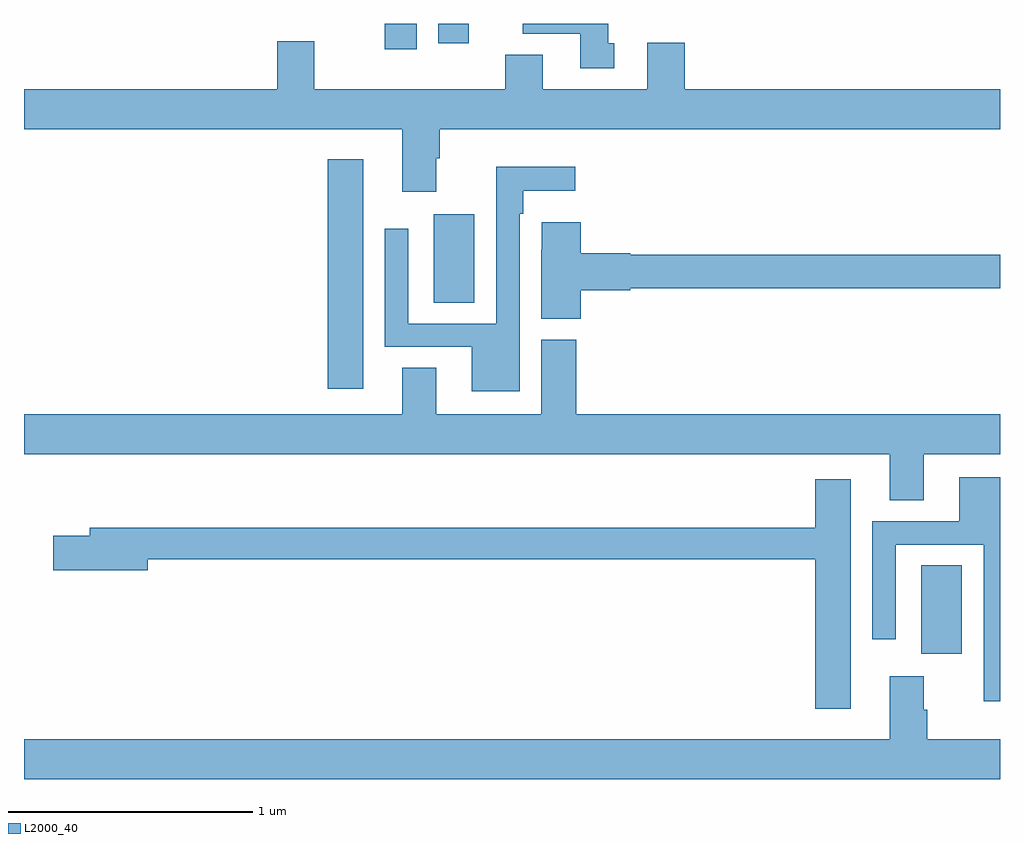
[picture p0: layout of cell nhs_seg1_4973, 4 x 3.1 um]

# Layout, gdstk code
import gdstk
lib = gdstk.Library(unit=1e-6, precision=1e-09)
def R(c, l, rs):  # rectangles x0, y0, x1, y1
    for r in rs: c.add(gdstk.rectangle(r[:2], r[2:], *l))
def P(c, l, *ps):  # polygons
    for p in ps: c.add(gdstk.Polygon(p, *l))
L2000_40 = (2000, 40)

nhs_seg1_4973 = lib.new_cell('nhs_seg1_4973')
R(nhs_seg1_4973, L2000_40, [(384.677,513.618,384.844,513.98), (382.244,514.704,382.39,515.644), (382.679,515.056,382.846,515.419), (382.478,516.096,382.609,516.199), (382.697,516.12,382.822,516.199)])
P(nhs_seg1_4973, L2000_40, [(383.419,516.12),(383.395,516.12),(383.395,516.199),(383.044,516.199),(383.044,516.158),(383.279,516.158),(383.279,516.018),(383.419,516.018)],
  [(382.69,515.648),(382.703,515.648),(382.703,515.768),(385,515.768),(385,515.932),(383.708,515.932),(383.708,516.121),(383.555,516.121),(383.555,515.932),(383.125,515.932),(383.125,516.073),(382.973,516.073),(382.973,515.932),(382.189,515.932),(382.189,516.127),(382.037,516.127),(382.037,515.932),(381,515.932),(381,515.768),(382.55,515.768),(382.55,515.511),(382.69,515.511)],
  [(383.031,515.42),(383.047,515.42),(383.047,515.516),(383.26,515.516),(383.26,515.614),(382.935,515.614),(382.935,514.971),(382.575,514.971),(382.575,515.359),(382.479,515.359),(382.479,514.875),(382.835,514.875),(382.835,514.694),(383.031,514.694)],
  [(383.282,515.108),(383.484,515.108),(383.484,515.116),(385,515.116),(385,515.252),(383.484,515.252),(383.484,515.26),(383.282,515.26),(383.282,515.386),(383.121,515.386),(383.121,515.273),(383.12,515.273),(383.12,514.99),(383.282,514.99)],
  [(384.688,514.436),(385,514.436),(385,514.6),(383.264,514.6),(383.264,514.905),(383.12,514.905),(383.12,514.6),(382.69,514.6),(382.69,514.79),(382.55,514.79),(382.55,514.6),(381,514.6),(381,514.436),(384.548,514.436),(384.548,514.246),(384.688,514.246)],
  [(385,514.342),(384.833,514.342),(384.833,514.161),(384.477,514.161),(384.477,513.678),(384.573,513.678),(384.573,514.065),(384.933,514.065),(384.933,513.422),(385,513.422)],
  [(384.388,514.333),(384.242,514.333),(384.242,514.135),(381.269,514.135),(381.269,514.101),(381.12,514.101),(381.12,513.959),(381.508,513.959),(381.508,514.006),(384.242,514.006),(384.242,513.393),(384.388,513.393)],
  [(385,513.268),(384.701,513.268),(384.701,513.389),(384.688,513.389),(384.688,513.526),(384.548,513.526),(384.548,513.268),(381,513.268),(381,513.104),(385,513.104)])

lib.write_gds('nhs_seg1_4973.gds')
